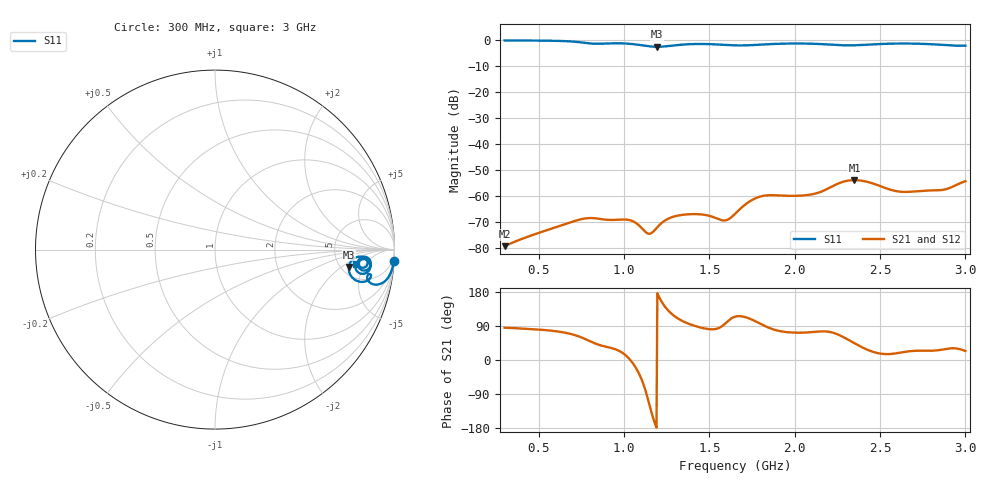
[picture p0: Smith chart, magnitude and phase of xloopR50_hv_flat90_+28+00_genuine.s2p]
! xloopR50_hv_flat90_+28+00_genuine, gap C 0.80 pF
! simulated by sim/fixtures_fdtd.py (S12 = S21, S22 not computed)
# HZ S RI R 50
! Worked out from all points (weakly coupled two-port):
!   541 points, 300 MHz to 3 GHz, reference 50 ohm
!   highest |S21| = -53.96 dB at 2.35 GHz (marker M1); lowest = -79.5 dB at 300 MHz (marker M2)
!   lowest |S11| = -2.5 dB at 1.195 GHz (marker M3), VSWR 7.08, Z = 294 - j131 ohm
!   |S11| at or under -10 dB: nowhere
!   |S22| runs from - to - dB; largest |S21 - S12| = 0
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3e8  0.9964 -0.0608  8.9e-06 0.000106  8.9e-06 0.000106  0 0
6e8  0.9706 -0.1469  5.99e-05 0.00024  5.99e-05 0.00024  0 0
7.5e8  0.8941 -0.1954  0.000178 0.000305  0.000178 0.000305  0 0
8.85e8  0.8594 -0.136  0.000281 0.000204  0.000281 0.000204  0 0
1.03e9  0.8433 -0.1754  0.000339 1.94e-05  0.000339 1.94e-05  0 0
1.145e9  0.7577 -0.1464  -6.95e-05 -0.000171  -6.95e-05 -0.000171  0 0
1.195e9  0.7462 -0.0966  -0.000246 1.68e-05  -0.000246 1.68e-05  0 0
1.2e9  0.747 -0.0916  -0.000254 4e-05  -0.000254 4e-05  0 0
1.255e9  0.7742 -0.0497  -0.00024 0.000263  -0.00024 0.000263  0 0
1.33e9  0.8228 -0.0412  -0.000114 0.000406  -0.000114 0.000406  0 0
1.46e9  0.8495 -0.0824  4.21e-05 0.000431  4.21e-05 0.000431  0 0
1.585e9  0.8151 -0.0995  -1.89e-05 0.000332  -1.89e-05 0.000332  0 0
1.65e9  0.7983 -0.0815  -0.000184 0.000408  -0.000184 0.000408  0 0
1.73e9  0.805 -0.051  -0.000259 0.00071  -0.000259 0.00071  0 0
1.805e9  0.8302 -0.0397  -7.1e-05 0.000977  -7.1e-05 0.000977  0 0
2.1e9  0.857 -0.1058  0.000301 0.00102  0.000301 0.00102  0 0
2.275e9  0.8015 -0.0997  0.000837 0.00162  0.000837 0.00162  0 0
2.35e9  0.8018 -0.0689  0.00144 0.00139  0.00144 0.00139  0 0
2.55e9  0.8603 -0.0711  0.00129 0.000361  0.00129 0.000361  0 0
2.64e9  0.8654 -0.0966  0.00111 0.000426  0.00111 0.000426  0 0
2.855e9  0.8128 -0.1341  0.00115 0.000578  0.00115 0.000578  0 0
3e9  0.786 -0.0821  0.00175 0.000771  0.00175 0.000771  0 0
